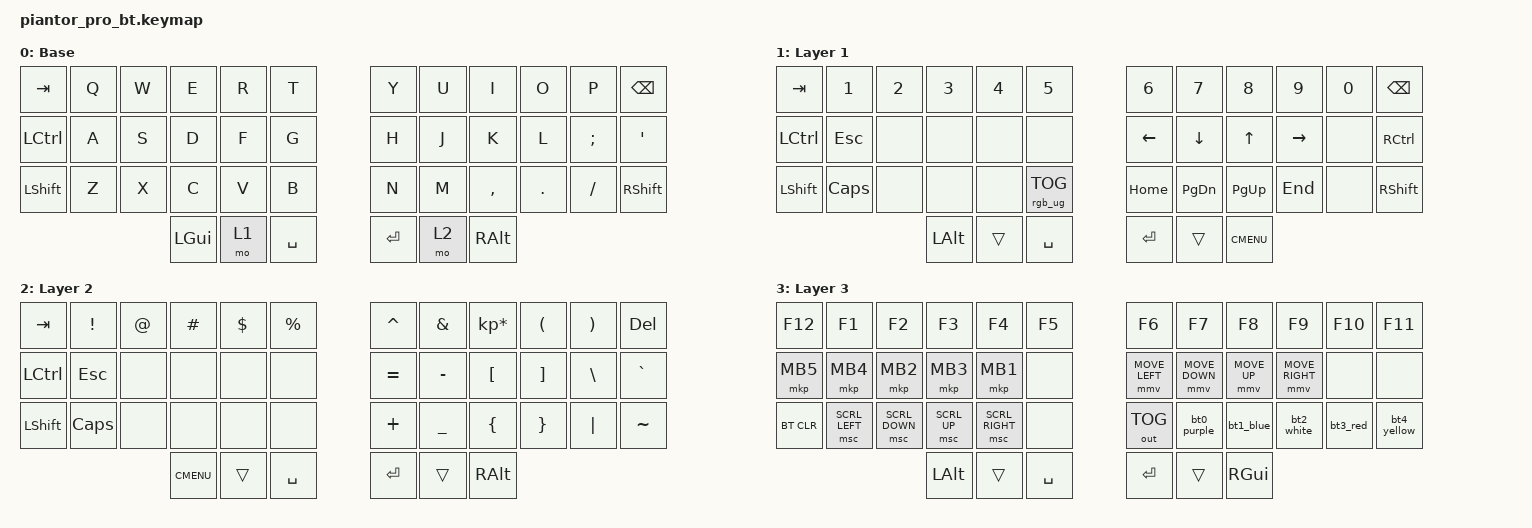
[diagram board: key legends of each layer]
/*
 * Copyright (c) 2020 The ZMK Contributors
 *
 * SPDX-License-Identifier: MIT
 */
 
#define ZMK_POINTING_DEFAULT_MOVE_VAL 1500
#define ZMK_POINTING_DEFAULT_SCRL_VAL 10

#include <behaviors.dtsi>
#include <dt-bindings/zmk/keys.h>
#include <dt-bindings/zmk/bt.h>
#include <dt-bindings/zmk/rgb.h>
#include <dt-bindings/zmk/outputs.h>
#include <dt-bindings/zmk/pointing.h>

/ {
    chosen {
        zmk,physical-layout = &default_layout;
    };

    macros {
        bt0_purple: bt0_purple {
            compatible = "zmk,behavior-macro";
            #binding-cells = <0>;
            bindings = <&bt BT_SEL 0>, <&rgb_ug RGB_COLOR_HSB(280,100,100)>;
        };
        bt1_blue: bt1_blue {
            compatible = "zmk,behavior-macro";
            #binding-cells = <0>;
            bindings = <&bt BT_SEL 1>, <&rgb_ug RGB_COLOR_HSB(240,100,100)>;
        };
        bt2_white: bt2_white {
            compatible = "zmk,behavior-macro";
            #binding-cells = <0>;
            bindings = <&bt BT_SEL 2>, <&rgb_ug RGB_COLOR_HSB(0,0,100)>;
        };
        bt3_red: bt3_red {
            compatible = "zmk,behavior-macro";
            #binding-cells = <0>;
            bindings = <&bt BT_SEL 3>, <&rgb_ug RGB_COLOR_HSB(0,100,100)>;
        };
        bt4_yellow: bt4_yellow {
            compatible = "zmk,behavior-macro";
            #binding-cells = <0>;
            bindings = <&bt BT_SEL 4>, <&rgb_ug RGB_COLOR_HSB(50,100,100)>;
        };
    };
};

/ {
        keymap {
                compatible = "zmk,keymap";

                default_layer {
// -----------------------------------------------------------------------------------------
// |  TAB |  Q  |  W  |  E  |  R  |  T  |   |  Y  |  U   |  I  |  O  |  P  | BKSP |
// | CTRL |  A  |  S  |  D  |  F  |  G  |   |  H  |  J   |  K  |  L  |  ;  |  '   |
// | SHFT |  Z  |  X  |  C  |  V  |  B  |   |  N  |  M   |  ,  |  .  |  /  | SHFT |
//                    | GUI | LY1 | SPC |   | ENT | LY2  | ALT |
                        display-name = "Base";
                        bindings = <
   &kp TAB   &kp Q &kp W &kp E &kp R &kp T     &kp Y &kp U &kp I     &kp O   &kp P    &kp BSPC
   &kp LCTRL &kp A &kp S &kp D &kp F &kp G     &kp H &kp J &kp K     &kp L   &kp SEMI &kp SQT
   &kp LSHFT &kp Z &kp X &kp C &kp V &kp B     &kp N &kp M &kp COMMA &kp DOT &kp FSLH &kp RSHFT
              &kp LGUI  &mo 1  &kp SPACE         &kp RET  &mo 2  &kp RALT
                        >;
                };
				
                lower_layer {
// -----------------------------------------------------------------------------------------
// |  TAB |  1  |  2  |  3  |  4  |  5  |   |  6  |  7  |  8  |  9  |  0  | BKSP |
// | LCTRL| ESC |     |     |     |     |   | LFT | DWN |  UP | RGT |     | RCTRL|
// | LSHFT| CLCK|     |     |     | RGB |   | HOME|PGDWN| PGUP| END |     | RSHFT|
//                    | LALT| LY1 | SPC |   | ENT | LY2 | MENU|
                        display-name = "Layer 1";
                        bindings = <
   &kp TAB   &kp N1   &kp N2 &kp N3 &kp N4 &kp N5               &kp N6   &kp N7    &kp N8    &kp N9    &kp N0 &kp BSPC
   &kp LCTRL &kp ESC  &none  &none  &none  &none                &kp LEFT &kp DOWN  &kp UP    &kp RIGHT &none  &kp RCTRL
   &kp LSHFT &kp CAPS &none  &none  &none  &rgb_ug RGB_TOG      &kp HOME &kp PG_DN &kp PG_UP &kp END   &none  &kp RSHFT
           	         &kp LALT &trans &kp SPACE                      &kp RET &trans &kp K_CMENU
                        >;
                };

                raise_layer {
// -----------------------------------------------------------------------------------------
// |  TAB |  !  |  @  |  #  |  $  |  %  |   |  ^  |  &  |  *  |  (  |  )  | BKSP |
// | LCTRL| ESC |     |     |     |     |   |  =  |  -  |  [  |  ]  |  \  |  `   |
// | LSHFT| CLCK|     |     |     |     |   |  +  |  _  |  {  |  }  | "|" |  ~   |
//                    | GUI |     | MENU|   | ENT |     | RALT|
                        display-name = "Layer 2";
                        bindings = <
   &kp TAB   &kp EXCL &kp AT &kp HASH &kp DOLLAR &kp PRCNT     &kp CARET &kp AMPS  &kp KP_MULTIPLY &kp LPAR &kp RPAR &kp DEL
   &kp LCTRL &kp ESC  &none  &none    &none      &none         &kp EQUAL &kp MINUS &kp LBKT        &kp RBKT &kp BSLH &kp GRAVE
   &kp LSHFT &kp CAPS &none  &none    &none      &none         &kp PLUS  &kp UNDER &kp LBRC        &kp RBRC &kp PIPE &kp TILDE
                            &kp K_CMENU &trans &kp SPACE         &kp RET &trans &kp RALT
                        >;
                };

                adjust_layer  {
// -----------------------------------------------------------------------------------------
// | F12 |  F1  |  F2  | F3  | F4  | F5 |   F6   |   F7   |  F8  |    F9    | F10 | F11 |
// | MB5 | MB4  | MB2  | MB3 | MB1 |    | M_LEFT | M_DOWN | M_UP |  M_RIGHT |     |     |
// |     | MS_L | MS_DWN | MS_UP | MS_R  |    |        |        |      |          |     |     |
//                    | LALT |     | SPC |   | ENT |     | RGUI |
                        display-name = "Layer 3";
                        bindings = <
   &kp F12    &kp F1         &kp F2         &kp F3       &kp F4          &kp F5     &kp F6         &kp F7         &kp F8       &kp F9          &kp F10      &kp F11
   &mkp MB5   &mkp MB4       &mkp MB2       &mkp MB3     &mkp MB1        &none      &mmv MOVE_LEFT &mmv MOVE_DOWN &mmv MOVE_UP &mmv MOVE_RIGHT &none        &none
   &bt BT_CLR &msc SCRL_LEFT &msc SCRL_DOWN &msc SCRL_UP &msc SCRL_RIGHT &none      &out OUT_TOG   &bt0_purple    &bt1_blue    &bt2_white      &bt3_red     &bt4_yellow
                    	                            &kp LALT &trans &kp SPACE         &kp RET &trans &kp RGUI
                        >;
                };
        };
};

/ {
    conditional_layers {
        compatible = "zmk,conditional-layers";
        tri_layer {
            if-layers = <1 2>;
            then-layer = <3>;
        };
    };
};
